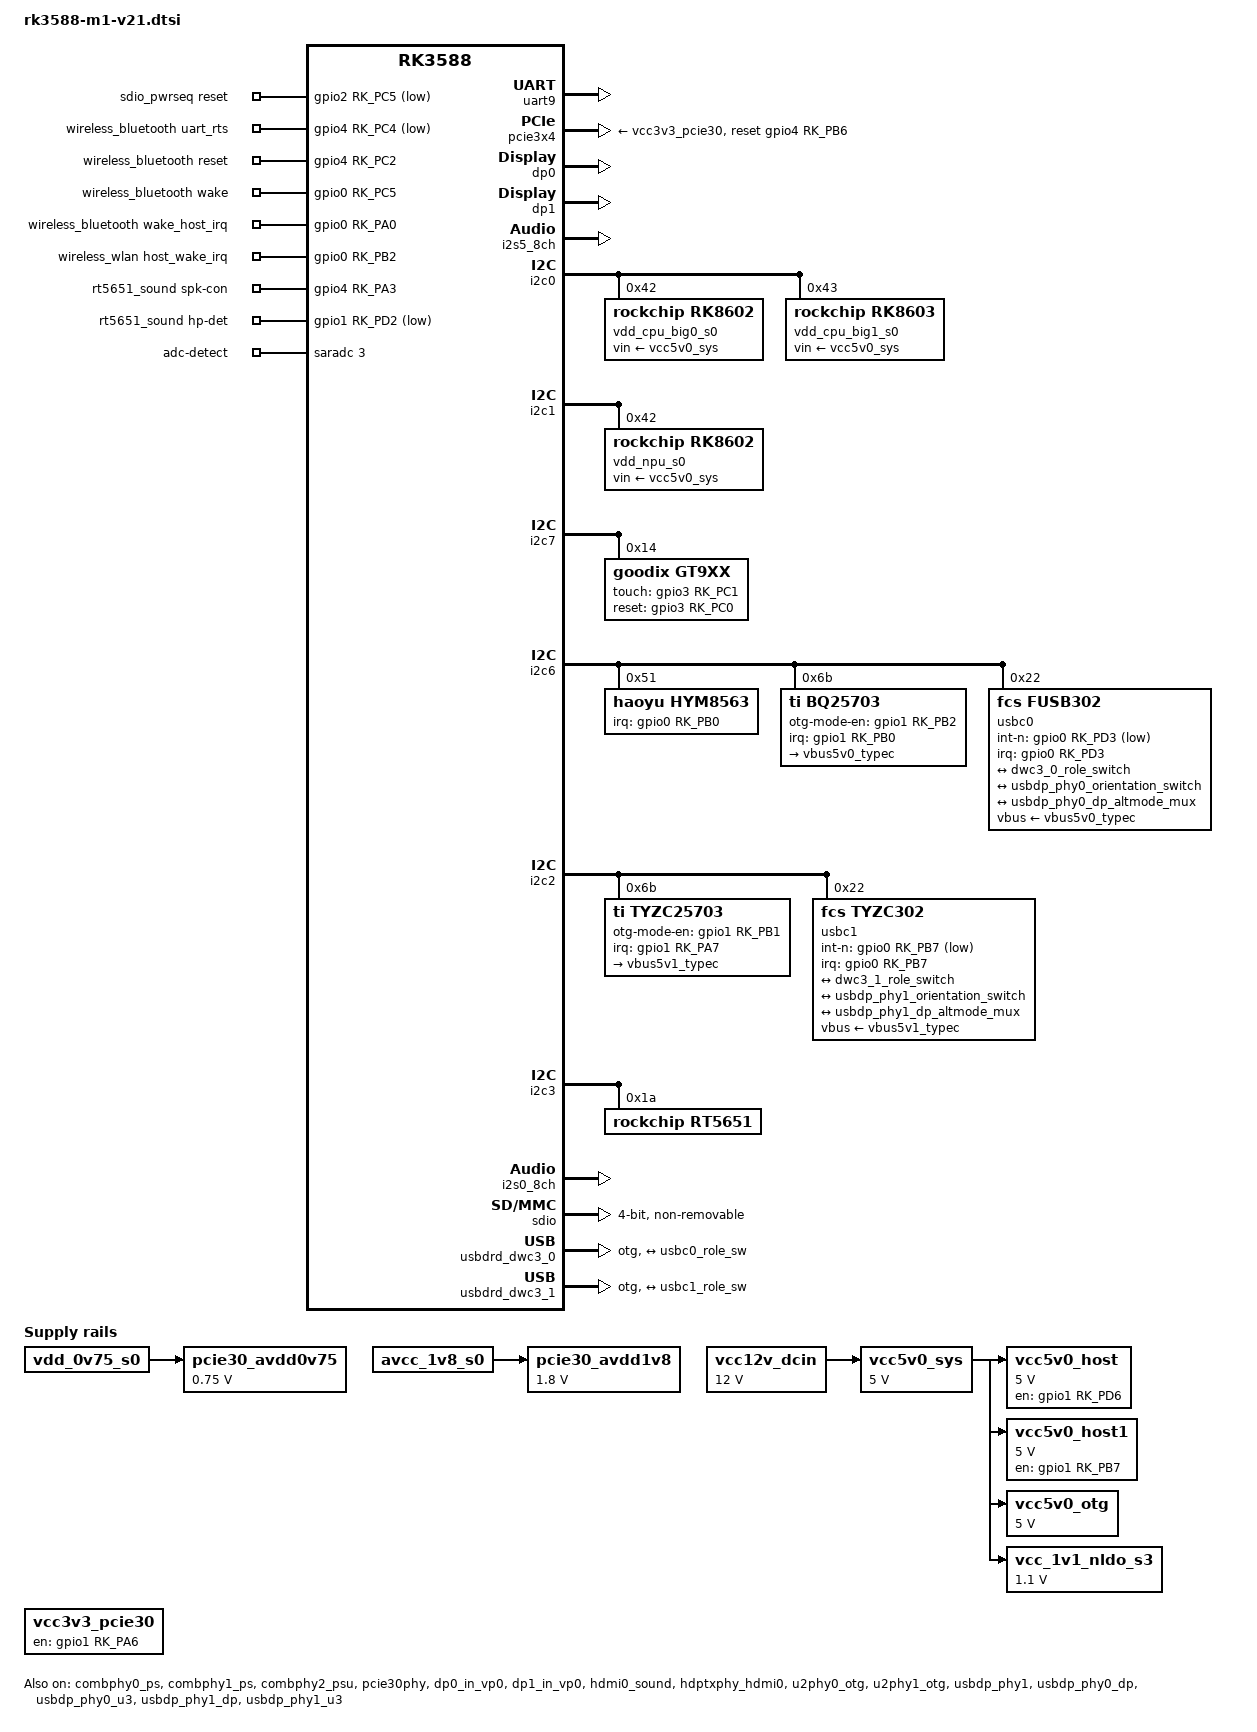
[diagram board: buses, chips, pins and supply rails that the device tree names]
// SPDX-License-Identifier: (GPL-2.0+ OR MIT)
/*
 * Copyright (c) 2021 Rockchip Electronics Co., Ltd.
 *
 */
#include "dt-bindings/usb/pd.h"
#include "rk3588.dtsi"
#include "rk3588-evb.dtsi"
#include "rk3588-rk806-single.dtsi"

/ {
    charge-animation {
        compatible = "rockchip,uboot-charge";
        rockchip,uboot-charge-on = <1>;
        rockchip,android-charge-on = <0>;
        rockchip,uboot-low-power-voltage = <6400>;
        rockchip,screen-on-voltage = <6500>;
        status = "disabled";
    };

	pcie30_avdd0v75: pcie30-avdd0v75 {
		compatible = "regulator-fixed";
		regulator-name = "pcie30_avdd0v75";
		regulator-boot-on;
		regulator-always-on;
		regulator-min-microvolt = <750000>;
		regulator-max-microvolt = <750000>;
		vin-supply = <&vdd_0v75_s0>;
	};

	pcie30_avdd1v8: pcie30-avdd1v8 {
		compatible = "regulator-fixed";
		regulator-name = "pcie30_avdd1v8";
		regulator-boot-on;
		regulator-always-on;
		regulator-min-microvolt = <1800000>;
		regulator-max-microvolt = <1800000>;
		vin-supply = <&avcc_1v8_s0>;
	};

	vcc12v_dcin: vcc12v-dcin {
		compatible = "regulator-fixed";
		regulator-name = "vcc12v_dcin";
		regulator-always-on;
		regulator-boot-on;
		regulator-min-microvolt = <12000000>;
		regulator-max-microvolt = <12000000>;
	};

	vcc5v0_sys: vcc5v0-sys {
		compatible = "regulator-fixed";
		regulator-name = "vcc5v0_sys";
		regulator-always-on;
		regulator-boot-on;
		regulator-min-microvolt = <5000000>;
		regulator-max-microvolt = <5000000>;
		vin-supply = <&vcc12v_dcin>;
	};

	vcc3v3_pcie30: vcc3v3-pcie30-regulator {
		compatible = "regulator-fixed";
		regulator-name = "vcc3v3_pcie30";
		regulator-boot-on;
		regulator-always-on;
		gpio = <&gpio1 RK_PA6 GPIO_ACTIVE_HIGH>;
		enable-active-high;
	};

	vcc5v0_host: vcc5v0-host-regulator {
		compatible = "regulator-fixed";
		regulator-name = "vcc5v0_host";
		regulator-boot-on;
		regulator-always-on;
		gpio = <&gpio1 RK_PD6 GPIO_ACTIVE_HIGH>;
		regulator-min-microvolt = <5000000>;
		regulator-max-microvolt = <5000000>;
		enable-active-high;
		vin-supply = <&vcc5v0_sys>;
	};
	
	vcc5v0_host1: vcc5v0-host1-regulator {
		compatible = "regulator-fixed";
		regulator-name = "vcc5v0_host1";
		regulator-boot-on;
		regulator-always-on;
		gpio = <&gpio1 RK_PB7 GPIO_ACTIVE_HIGH>;
		regulator-min-microvolt = <5000000>;
		regulator-max-microvolt = <5000000>;
		enable-active-high;
		vin-supply = <&vcc5v0_sys>;
	};	
	

	vcc5v0_otg: vcc5v0-otg-regulator {
		compatible = "regulator-fixed";
		regulator-name = "vcc5v0_otg";
		regulator-min-microvolt = <5000000>;
		regulator-max-microvolt = <5000000>;
		enable-active-high;
		vin-supply = <&vcc5v0_sys>;
	};

	vcc_1v1_nldo_s3: vcc-1v1-nldo-s3 {
		compatible = "regulator-fixed";
		regulator-name = "vcc_1v1_nldo_s3";
		regulator-always-on;
		regulator-boot-on;
		regulator-min-microvolt = <1100000>;
		regulator-max-microvolt = <1100000>;
		vin-supply = <&vcc5v0_sys>;
	};
	
	sdio_pwrseq: sdio-pwrseq {
		compatible = "mmc-pwrseq-simple";
		clocks = <&hym8563>;
		clock-names = "ext_clock";
		pinctrl-names = "default";
		pinctrl-0 = <&wifi_enable_h>;
		/*
		 * On the module itself this is one of these (depending
		 * on the actual card populated):
		 * - SDIO_RESET_L_WL_REG_ON
		 * - PDN (power down when low)
		 */
		post-power-on-delay-ms = <200>;
		reset-gpios = <&gpio2 RK_PC5 GPIO_ACTIVE_LOW>;
	};

	wireless_bluetooth: wireless-bluetooth {
		compatible = "bluetooth-platdata";
		clocks = <&hym8563>;
		clock-names = "ext_clock";
		uart_rts_gpios = <&gpio4 RK_PC4 GPIO_ACTIVE_LOW>;
		pinctrl-names = "default", "rts_gpio";
		pinctrl-0 = <&uart9m0_rtsn>, <&bt_reset_gpio>, <&bt_wake_gpio>, <&bt_irq_gpio>;
		pinctrl-1 = <&uart9_gpios>;
		BT,reset_gpio    = <&gpio4 RK_PC2 GPIO_ACTIVE_HIGH>;
		BT,wake_gpio     = <&gpio0 RK_PC5 GPIO_ACTIVE_HIGH>;
		BT,wake_host_irq = <&gpio0 RK_PA0 GPIO_ACTIVE_HIGH>;
		status = "okay";
	};	
	
    wireless_wlan: wireless-wlan {
        compatible = "wlan-platdata";
        wifi_chip_type = "ap6275p";
        pinctrl-names = "default";
        pinctrl-0 = <&wifi_host_wake_irq>;
        WIFI,host_wake_irq = <&gpio0 RK_PB2 GPIO_ACTIVE_HIGH>;
        status = "okay";
    };
	
	rt5651_sound: rt5651-sound {
		status = "okay";
		compatible = "rockchip,multicodecs-card";
		rockchip,card-name = "rockchip-rt5651";
		rockchip,format = "i2s";
		rockchip,mclk-fs = <256>;
		rockchip,cpu = <&i2s0_8ch>;
		rockchip,codec = <&rt5651>;
		spk-con-gpio = <&gpio4 RK_PA3 GPIO_ACTIVE_HIGH>;
		hp-det-gpio = <&gpio1 RK_PD2 GPIO_ACTIVE_LOW>;
		io-channels = <&saradc 3>;
		io-channel-names = "adc-detect";
		pinctrl-names = "default";
		pinctrl-0 = <&hp_det>;
		rockchip,audio-routing =
		"Headphone", "HPOL",
		"Headphone", "HPOR",
		"Speaker", "HPOL",
		"Speaker", "HPOR",
		"Main Mic", "micbias1",
		"IN3P", "Headset Mic",
		"IN2P", "Main Mic";
	};
};

&uart9 {
	status = "okay";
	pinctrl-names = "default";
	pinctrl-0 = <&uart9m0_xfer &uart9m0_ctsn>;
};

&combphy0_ps {
    status = "okay";
};

&combphy1_ps {
    status = "okay";
};

&combphy2_psu {
    status = "okay";
};

&pcie30phy {
	rockchip,pcie30-phymode = <PHY_MODE_PCIE_NANBNB>;
	status = "okay";
};

&pcie3x4 {
	reset-gpios = <&gpio4 RK_PB6 GPIO_ACTIVE_HIGH>;
	rockchip,perst-inactive-ms = <500>;
	vpcie3v3-supply = <&vcc3v3_pcie30>;
	status = "okay";
};

&dp0 {
	status = "okay";
};

&dp0_in_vp0 {
	status = "okay";
};

&dp1 {
	status = "okay";
};

&dp1_in_vp0 {
	status = "okay";
};

&dp1_in_vp1 {
	status = "disabled";
};

&dp1_in_vp2 {
	status = "disabled";
};

&hdmi0 {
	enable-gpios = <&gpio4 RK_PB1 GPIO_ACTIVE_HIGH>;
	status = "disabled";
};

&hdmi0_in_vp0 {
	status = "disabled";
};

&hdmi0_in_vp1 {
	status = "disabled";
};

&hdmi0_in_vp2 {
	status = "disabled";
};

&hdmi0_sound {
	status = "okay";
};

&i2s5_8ch {
	status = "okay";
};

&hdmi1 {
	enable-gpios = <&gpio4 RK_PB2 GPIO_ACTIVE_HIGH>;
	status = "disabled";
};

&hdmi1_in_vp0 {
	status = "disabled";
};

&hdmi1_in_vp1 {
	status = "disabled";
};

&hdmi1_in_vp2 {
	status = "disabled";
};

&hdmi1_sound {
	status = "disabled";
};

&hdptxphy_hdmi0 {
	status = "okay";
};

&hdptxphy_hdmi1 {
	status = "disabled";
};

&i2c0 {
	status = "okay";
	pinctrl-names = "default";
	pinctrl-0 = <&i2c0m2_xfer>;

	vdd_cpu_big0_s0: vdd_cpu_big0_mem_s0: rk8602@42 {
		compatible = "rockchip,rk8602";
		reg = <0x42>;
		vin-supply = <&vcc5v0_sys>;
		regulator-compatible = "rk860x-reg";
		regulator-name = "vdd_cpu_big0_s0";
		regulator-min-microvolt = <550000>;
		regulator-max-microvolt = <1050000>;
		regulator-ramp-delay = <2300>;
		rockchip,suspend-voltage-selector = <1>;
		regulator-boot-on;
		regulator-always-on;
		regulator-state-mem {
			regulator-off-in-suspend;
		};
	};

	vdd_cpu_big1_s0: vdd_cpu_big1_mem_s0: rk8603@43 {
		compatible = "rockchip,rk8603";
		reg = <0x43>;
		vin-supply = <&vcc5v0_sys>;
		regulator-compatible = "rk860x-reg";
		regulator-name = "vdd_cpu_big1_s0";
		regulator-min-microvolt = <550000>;
		regulator-max-microvolt = <1050000>;
		regulator-ramp-delay = <2300>;
		rockchip,suspend-voltage-selector = <1>;
		regulator-boot-on;
		regulator-always-on;
		regulator-state-mem {
			regulator-off-in-suspend;
		};
	};
};

&i2c1 {
	status = "okay";
	pinctrl-names = "default";
	pinctrl-0 = <&i2c1m2_xfer>;
	vdd_npu_s0: vdd_npu_mem_s0: rk8602@42 {
		compatible = "rockchip,rk8602";
		reg = <0x42>;
		vin-supply = <&vcc5v0_sys>;
		regulator-compatible = "rk860x-reg";
		regulator-name = "vdd_npu_s0";
		regulator-min-microvolt = <550000>;
		regulator-max-microvolt = <950000>;
		regulator-ramp-delay = <2300>;
		rockchip,suspend-voltage-selector = <1>;
		regulator-boot-on;
		regulator-always-on;
		regulator-state-mem {
			regulator-off-in-suspend;
		};
	};
};

&i2c7 {
	pinctrl-names = "default";
	pinctrl-0 = <&i2c7m2_xfer>;

	status = "okay";

#if 1
	gt9xx: gt9xx@14 {
		status = "okay";
		compatible = "goodix,gt9xx";
		reg = <0x14>;
		pinctrl-names = "default";
		pinctrl-0 = <&touch_gpio>;
		touch-gpio = <&gpio3 RK_PC1 IRQ_TYPE_LEVEL_HIGH>;
		reset-gpio = <&gpio3 RK_PC0 GPIO_ACTIVE_HIGH>;
		max-x = <820>;
		max-y = <320>;
		tp-size = <9110>;
		//tp-supply = <&vcc3v3_tp>;
	};
#endif
};

&i2c6 {
	status = "okay";
	
	hym8563: hym8563@51 {
		compatible = "haoyu,hym8563";
		reg = <0x51>;
		#clock-cells = <0>;
		pinctrl-names = "default";
		pinctrl-0 = <&rtc_int>;

		interrupt-parent = <&gpio0>;
		interrupts = <RK_PB0 IRQ_TYPE_LEVEL_LOW>;
		wakeup-source;
	};

	bq25703: bq25703@6b {
		status = "okay";
		compatible = "ti,bq25703";
		reg = <0x6b>;
		ti,usb-charger-detection = <&usbc0>;

		interrupt-parent = <&gpio1>;
		interrupts = <RK_PB0 IRQ_TYPE_LEVEL_LOW>;
		otg-mode-en-gpios = <&gpio1 RK_PB2 GPIO_ACTIVE_HIGH>;
		pinctrl-names = "default";
		pinctrl-0 = <&charger_ok>;
		extcon = <&u2phy0>;
		ti,charge-current = <3000000>;
		ti,max-input-voltage = <20000000>;
		ti,max-input-current = <6000000>;
		ti,max-charge-voltage = <7600000>;//8750000			
		ti,input-current = <5000000>;
		ti,input-current-sdp = <5000000>;
		ti,input-current-dcp = <5000000>;
		ti,input-current-cdp = <5000000>;
		ti,minimum-sys-voltage = <7400000>;
		ti,otg-voltage = <5000000>;
		ti,otg-current = <1500000>;

		pd-charge-only = <0>;
		regulators {
			vbus5v0_typec: vbus5v0-typec {
				regulator-compatible = "otg-vbus";
				regulator-name = "vbus5v0_typec";
			};
		};
	};

	usbc0: fusb302@22 {
		compatible = "fcs,fusb302";
		reg = <0x22>;
		interrupt-parent = <&gpio0>;
		interrupts = <RK_PD3 IRQ_TYPE_LEVEL_LOW>;
		int-n-gpios = <&gpio0 RK_PD3 GPIO_ACTIVE_LOW>;
		pinctrl-names = "default";
		pinctrl-0 = <&usbc0_int>;
		vbus-supply = <&vbus5v0_typec>;
		status = "okay";

		ports {
			#address-cells = <1>;
			#size-cells = <0>;

			port@0 {
				reg = <0>;
				usbc0_role_sw: endpoint@0 {
					remote-endpoint = <&dwc3_0_role_switch>;
				};
			};
		};

		usb_con0: connector {
			compatible = "usb-c-connector";
			label = "USB-C";
			data-role = "dual";
			power-role = "dual";
			try-power-role = "sink";
			op-sink-microwatt = <1000000>;
            sink-pdos =
                <PDO_FIXED(5000, 3000, PDO_FIXED_USB_COMM)
                 PDO_FIXED(9000, 3000, PDO_FIXED_USB_COMM)
                 PDO_FIXED(12000, 3000, PDO_FIXED_USB_COMM)>;
			source-pdos =
				<PDO_FIXED(5000, 3000, PDO_FIXED_USB_COMM)>;

			altmodes {
				#address-cells = <1>;
				#size-cells = <0>;

				altmode@0 {
					reg = <0>;
					svid = <0xff01>;
					vdo = <0xffffffff>;
				};
			};

			ports {
				#address-cells = <1>;
				#size-cells = <0>;

				port@0 {
					reg = <0>;
					usbc0_orien_sw: endpoint {
						remote-endpoint = <&usbdp_phy0_orientation_switch>;
					};
				};

				port@1 {
					reg = <1>;
					dp_altmode_mux: endpoint {
						remote-endpoint = <&usbdp_phy0_dp_altmode_mux>;
					};
				};
			};
		};
	};	
	
};

&i2c2 {
	status = "okay";
	pinctrl-names = "default";
	pinctrl-0 = <&i2c2m4_xfer>;
	
	tyzc25703: tyzc25703@6b {
		status = "okay";
		compatible = "ti,tyzc25703";
		reg = <0x6b>;
		ti,usb-charger-detection = <&usbc1>;

		interrupt-parent = <&gpio1>;
		interrupts = <RK_PA7 IRQ_TYPE_LEVEL_LOW>;
		otg-mode-en-gpios = <&gpio1 RK_PB1 GPIO_ACTIVE_HIGH>;
		pinctrl-names = "default";
		pinctrl-0 = <&charger1_ok>;
		extcon = <&u2phy1>;
		ti,charge-current = <3000000>;
		ti,max-input-voltage = <20000000>;
		ti,max-input-current = <6000000>;
		ti,max-charge-voltage = <7600000>;//8750000			
		ti,input-current = <5000000>;
		ti,input-current-sdp = <5000000>;
		ti,input-current-dcp = <5000000>;
		ti,input-current-cdp = <5000000>;
		ti,minimum-sys-voltage = <7400000>;
		ti,otg-voltage = <5000000>;
		ti,otg-current = <1500000>;

		pd-charge-only = <0>;
		regulators {
			vbus5v1_typec: vbus5v1-typec {
				regulator-compatible = "otg-vbus";
				regulator-name = "vbus5v1_typec";
			};
		};
	};

	usbc1: fusb302@22 {
		compatible = "fcs,tyzc302";
		reg = <0x22>;
		interrupt-parent = <&gpio0>;
		interrupts = <RK_PB7 IRQ_TYPE_LEVEL_LOW>;
		int-n-gpios = <&gpio0 RK_PB7 GPIO_ACTIVE_LOW>;
		pinctrl-names = "default";
		pinctrl-0 = <&usbc1_int>;
		vbus-supply = <&vbus5v1_typec>;
		status = "okay";

		ports {
			#address-cells = <1>;
			#size-cells = <0>;

			port@0 {
				reg = <0>;
				usbc1_role_sw: endpoint@0 {
					remote-endpoint = <&dwc3_1_role_switch>;
				};
			};
		};

		usb_con1: connector {
			compatible = "usb-c-connector";
			label = "USB-C";
			data-role = "dual";
			power-role = "dual";
			try-power-role = "sink";
			op-sink-microwatt = <1000000>;
            sink-pdos =
                <PDO_FIXED(5000, 3000, PDO_FIXED_USB_COMM)
                 PDO_FIXED(9000, 3000, PDO_FIXED_USB_COMM)
                 PDO_FIXED(12000, 3000, PDO_FIXED_USB_COMM)>;
			source-pdos =
				<PDO_FIXED(5000, 3000, PDO_FIXED_USB_COMM)>;

			altmodes {
				#address-cells = <1>;
				#size-cells = <0>;

				altmode@0 {
					reg = <0>;
					svid = <0xff01>;
					vdo = <0xffffffff>;
				};
			};

			ports {
				#address-cells = <1>;
				#size-cells = <0>;

				port@0 {
					reg = <0>;
					usbc1_orien_sw: endpoint {
						remote-endpoint = <&usbdp_phy1_orientation_switch>;
					};
				};

				port@1 {
					reg = <1>;
					dp1_altmode_mux: endpoint {
						remote-endpoint = <&usbdp_phy1_dp_altmode_mux>;
					};
				};
			};
		};
	};	
	
};

&i2c3 {
    status = "okay";
	
	rt5651: rt5651@1a {
		#sound-dai-cells = <0>;
		compatible = "rockchip,rt5651";
		reg = <0x1a>;
		clocks = <&mclkout_i2s0>;
		assigned-clocks = <&cru I2S0_8CH_MCLKOUT>;
		assigned-clock-rates = <11289600>;
		clock-names = "mclk";
		pinctrl-names = "default";
		pinctrl-0 = <&i2s0_mclk>;
		//spk-con-gpio = <&gpio4 RK_PA3 GPIO_ACTIVE_HIGH>;
		//hp-det-gpio = <&gpio4 28 GPIO_ACTIVE_LOW>;
		status = "okay";
	};	
};

&i2s0_8ch {
    status = "okay";
    rockchip,clk-trcm = <1>;
    pinctrl-0 = <&i2s0_lrck
             &i2s0_sclk
             &i2s0_sdi0
             &i2s0_sdo0>;
};

&rk806single {
	pinctrl-names = "default", "pmic-power-off";
	pinctrl-0 = <&pmic_pins>, <&rk806_dvs1_null>, <&rk806_dvs2_null>, <&rk806_dvs3_null>;
	pinctrl-1 = <&rk806_dvs1_slp>, <&rk806_dvs2_null>, <&rk806_dvs3_null>;

	regulators {
		avcc_1v8_s0: PLDO_REG1 {
			regulator-always-on;
			regulator-boot-on;
			regulator-min-microvolt = <1800000>;
			regulator-max-microvolt = <1800000>;
			regulator-name = "avcc_1v8_s0";
			regulator-state-mem {
				regulator-off-in-suspend;
			};
		};
	};
};

&rockchip_suspend {
	status = "okay";
	rockchip,sleep-debug-en = <1>;
	rockchip,virtual-poweroff = <1>;
	rockchip,sleep-mode-config = <
		(0
		| RKPM_SLP_ARMOFF_DDRPD /* fix keep-wifi-on cannot goto deep sleep by leewin*/
		| RKPM_SLP_PMU_PMUALIVE_32K
		| RKPM_SLP_PMU_DIS_OSC
		| RKPM_SLP_32K_EXT
		)
	>;
	rockchip,wakeup-config = <
		(0
		| RKPM_CPU0_WKUP_EN
		| RKPM_GPIO_WKUP_EN
		)
	>;
};

&sdio {
	max-frequency = <150000000>;
	no-sd;
	no-mmc;
	bus-width = <4>;
	disable-wp;
	cap-sd-highspeed;
	cap-sdio-irq;
	keep-power-in-suspend;
	mmc-pwrseq = <&sdio_pwrseq>;
	non-removable;
	pinctrl-names = "default";
	pinctrl-0 = <&sdiom0_pins>;
	sd-uhs-sdr104;
	status = "okay";
};

&pinctrl {
    charger {
        charger_ok: charge-ok {
            rockchip,pins =
                <1 RK_PB0 RK_FUNC_GPIO &pcfg_pull_up>;
        };
        charger1_ok: charge1-ok {
            rockchip,pins =
                <1 RK_PA7 RK_FUNC_GPIO &pcfg_pull_up>;
        };		
    };

	rtc {
		rtc_int: rtc-int {
			rockchip,pins = <0 RK_PB0 RK_FUNC_GPIO &pcfg_pull_up>;
		};
	};
	
	lcd {
		lcd_rst_gpio: lcd-rst-gpio {
			rockchip,pins = <2 RK_PB4 RK_FUNC_GPIO &pcfg_pull_none>;
		};
	};
	touch {
		touch_gpio: touch-gpio {
            rockchip,pins =
                    <3 RK_PC0 RK_FUNC_GPIO &pcfg_pull_up>,
                    <3 RK_PC1 RK_FUNC_GPIO &pcfg_pull_none>;
		};
	};	
    usb-typec {
        usbc0_int: usbc0-int {
            rockchip,pins = <0 RK_PD3 RK_FUNC_GPIO &pcfg_pull_up>;
        };
		
		usbc1_int: usbc1-int {
            rockchip,pins = <0 RK_PB7 RK_FUNC_GPIO &pcfg_pull_up>;
        };
    };

	sdio-pwrseq {
		wifi_enable_h: wifi-enable-h {
			rockchip,pins = <2 RK_PC5 RK_FUNC_GPIO &pcfg_pull_up>;
		};
	};
	
	wireless-bluetooth {
		uart9_gpios: uart9-gpios {
			rockchip,pins = <4 RK_PC4 RK_FUNC_GPIO &pcfg_pull_none>;
		};

		bt_reset_gpio: bt-reset-gpio {
			rockchip,pins = <4 RK_PC2 RK_FUNC_GPIO &pcfg_pull_none>;
		};

		bt_wake_gpio: bt-wake-gpio {
			rockchip,pins = <0 RK_PC5 RK_FUNC_GPIO &pcfg_pull_none>;
		};

		bt_irq_gpio: bt-irq-gpio {
			rockchip,pins = <0 RK_PA0 RK_FUNC_GPIO &pcfg_pull_down>;
		};
	};	
	
    wireless-wlan {
        wifi_host_wake_irq: wifi-host-wake-irq {
            rockchip,pins = <0 RK_PB2 RK_FUNC_GPIO &pcfg_pull_down>;
        };
    };		
	
};

&vdd_log_s0 {
	regulator-state-mem {
		regulator-on-in-suspend;
		regulator-suspend-microvolt = <750000>;
		//regulator-off-in-suspend;
	};
};

&vdd_vdenc_s0 {
	regulator-init-microvolt = <750000>;
};


&u2phy0_otg {
	status = "okay";
};

&u2phy1_otg {
	status = "okay";
};

&u2phy2_host {
	phy-supply = <&vcc5v0_host>;
};

&u2phy3_host {
	phy-supply = <&vcc5v0_host>;
};

&usbdp_phy0 {
	//rockchip,dp-lane-mux = <2 3>;
	orientation-switch;
	svid = <0xff01>;
	sbu1-dc-gpios = <&gpio4 RK_PA0 GPIO_ACTIVE_HIGH>;
	sbu2-dc-gpios = <&gpio4 RK_PA1 GPIO_ACTIVE_HIGH>;

	port {
		#address-cells = <1>;
		#size-cells = <0>;
		usbdp_phy0_orientation_switch: endpoint@0 {
			reg = <0>;
			remote-endpoint = <&usbc0_orien_sw>;
		};

		usbdp_phy0_dp_altmode_mux: endpoint@1 {
			reg = <1>;
			remote-endpoint = <&dp_altmode_mux>;
		};
	};
};

&usbdp_phy1 {
	//rockchip,dp-lane-mux = <2 3>;
	status = "okay";
	
	orientation-switch;
	svid = <0xff01>;
	sbu1-dc-gpios = <&gpio4 RK_PA6 GPIO_ACTIVE_HIGH>;
	sbu2-dc-gpios = <&gpio4 RK_PA7 GPIO_ACTIVE_HIGH>;

	port {
		#address-cells = <1>;
		#size-cells = <0>;
		usbdp_phy1_orientation_switch: endpoint@0 {
			reg = <0>;
			remote-endpoint = <&usbc1_orien_sw>;
		};

		usbdp_phy1_dp_altmode_mux: endpoint@1 {
			reg = <1>;
			remote-endpoint = <&dp1_altmode_mux>;
		};
	};	
	
};

&usbdp_phy0_dp {
	status = "okay";
};

&usbdp_phy0_u3 {
	status = "okay";
};

&usbdp_phy1_dp {
	status = "okay";
};

&usbdp_phy1_u3 {
	status = "okay";
};

&usbdrd_dwc3_0 {
	dr_mode = "otg";
	usb-role-switch;
	port {
		#address-cells = <1>;
		#size-cells = <0>;
		dwc3_0_role_switch: endpoint@0 {
			reg = <0>;
			remote-endpoint = <&usbc0_role_sw>;
		};
	};
};

&usbdrd_dwc3_1 {
	dr_mode = "otg";
	usb-role-switch;	
	port {
		#address-cells = <1>;
		#size-cells = <0>;
		dwc3_1_role_switch: endpoint@0 {
			reg = <0>;
			remote-endpoint = <&usbc1_role_sw>;
		};
	};	
	
};
